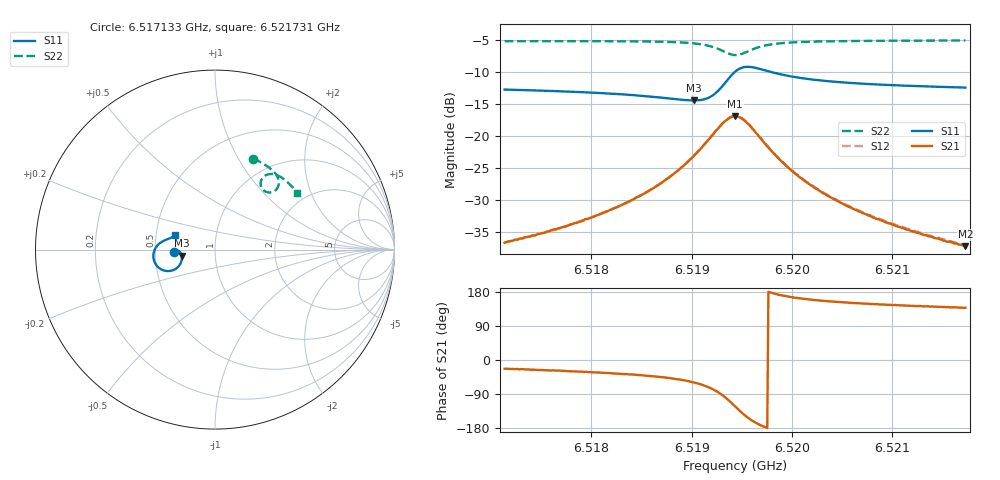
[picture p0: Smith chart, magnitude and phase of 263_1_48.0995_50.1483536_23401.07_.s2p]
#  HZ  S  RI  R  50.00
! Rohde & Schwarz Vector Network Analyzer
! Rohde-Schwarz,ZNB20-2Port,1311601062101988,3.16
! Created: UTC 12/23/2023, 4:00:59 AM
! freq[Hz]  re:S11  im:S11  re:S21  im:S21  re:S12  im:S12  re:S22  im:S22
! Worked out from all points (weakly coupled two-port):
!   401 points, 6.517133 GHz to 6.521731 GHz, reference 50 ohm
!   highest |S21| = -16.96 dB at 6.519432 GHz (marker M1); lowest = -37.3 dB at 6.521731 GHz (marker M2)
!   lowest |S11| = -14.5 dB at 6.519018 GHz (marker M3), VSWR 1.47, Z = 34.3 - j2.44 ohm
!   |S11| at or under -10 dB: start of sweep to 6.519432 GHz; 6.519786 GHz to end of sweep
!   |S22| runs from -7.4 to -5.1 dB; largest |S21 - S12| = 0.0043
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6.5171331e9  -0.2293 -0.0143  0.0134 -0.00572  0.0136 -0.00519  0.2125 0.5057
6.5175239e9  -0.2248 -0.00887  0.0156 -0.00785  0.0158 -0.00731  0.2413 0.493
6.5179032e9  -0.2192 -0.00461  0.0184 -0.0109  0.0189 -0.0106  0.2694 0.4783
6.5183285e9  -0.2102 -0.00312  0.0235 -0.0178  0.024 -0.0171  0.3014 0.4573
6.5186734e9  -0.1994 -0.0084  0.0296 -0.0291  0.0307 -0.0283  0.328 0.4338
6.5188573e9  -0.1918 -0.0175  0.0336 -0.041  0.0351 -0.0403  0.3425 0.4155
6.5190182e9  -0.1856 -0.0343  0.0357 -0.0592  0.0377 -0.0585  0.3528 0.3926
6.5191332e9  -0.1853 -0.0562  0.0322 -0.0803  0.0349 -0.08  0.3553 0.3691
6.5192136e9  -0.1925 -0.0785  0.0222 -0.1001  0.0254 -0.1004  0.35 0.3484
6.5193401e9  -0.2364 -0.1157  -0.0223 -0.1296  -0.0187 -0.1312  0.3158 0.3196
6.5193861e9  -0.265 -0.1196  -0.0486 -0.1301  -0.0454 -0.1326  0.2949 0.3188
6.519432e9  -0.2959 -0.1121  -0.0755 -0.1202  -0.0726 -0.1233  0.2746 0.3273
6.519478e9  -0.3216 -0.0931  -0.0962 -0.1008  -0.0942 -0.1043  0.2598 0.344
6.5195355e9  -0.3399 -0.0609  -0.1089 -0.0706  -0.1078 -0.0744  0.2538 0.369
6.5196389e9  -0.3392 -0.00886  -0.1026 -0.0264  -0.1026 -0.0294  0.2683 0.4033
6.5197424e9  -0.3222 0.0214  -0.0846 -0.00303  -0.0853 -0.00549  0.2917 0.4181
6.5199493e9  -0.2917 0.0461  -0.0564 0.0119  -0.0571 0.0105  0.3294 0.4197
6.5202022e9  -0.2694 0.0561  -0.0377 0.0145  -0.0385 0.0138  0.36 0.4081
6.5205241e9  -0.2533 0.0623  -0.0255 0.0136  -0.0263 0.013  0.3875 0.3898
6.5209724e9  -0.2396 0.0688  -0.0171 0.0117  -0.0176 0.0114  0.4172 0.3631
6.5213517e9  -0.2314 0.0739  -0.013 0.0103  -0.0134 0.0101  0.4383 0.3401
6.521731e9  -0.2246 0.079  -0.0102 0.00919  -0.0106 0.0092  0.4571 0.3164
